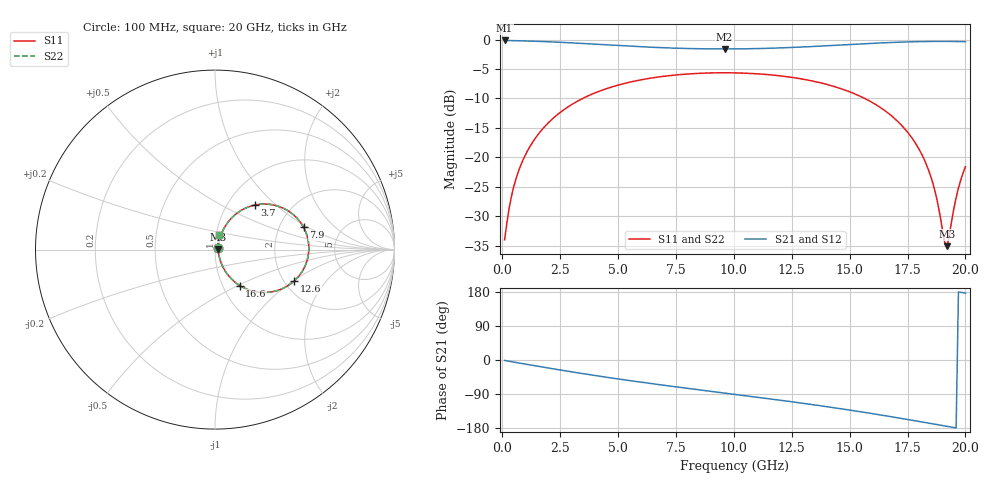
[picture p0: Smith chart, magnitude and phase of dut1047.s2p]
! Touchstone file exported from HFSS 2026.1.0
!  File:  C:/ffzhzh/LocalFiles/Ansys_Project_Files/temp_train_TSV_RDL_1047_1783296384_5512.aedt
!  Generated:  08:16:04 AM Jul  6, 2026
!  Design:  TSV_RDL
!  Project:  temp_train_TSV_RDL_1047_1783296384_5512
! Variables:
!  h_bsmrdl = 2.87um
!  h_ox = 20um
!  h_rdl = 5um
!  h_sub = 74.54um
!  h_tmrdl = 2.17um
!  h_tsv = 74.54um
!  h_via = 3um
!  l_bsmrdl = 243.09um
!  l_sub = 3023.93um
!  l_tmrdl = 438.79um
!  m_sub = 200um
!  pitch = 56.88um
!  r_tsv = 12.04um
!  s_tmrdl = 10um
!  w_bsmrdl = 19.8um
!  w_sub = 500um
!  w_tmrdl = 26.7um
!  x_tsv_center1 = 452.14um
!  x_tsv_center2 = 715.03um
!  x_tsv_center3 = 1180.52um
!  x_tsv_center4 = 1443.41um
!  x_tsv_center5 = 1908.9um
!  x_tsv_center6 = 2171.79um
# GHz S MA R 50.000000
! Terminal data exported
! Port[1] = TM_RDL1_1_T1
! Port[2] = TM_RDL5_1_T1
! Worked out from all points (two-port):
!   200 points, 100 MHz to 20 GHz, reference 50 ohm
!   highest |S21| = -0.14 dB at 100 MHz (marker M1); lowest = -1.6 dB at 9.6 GHz (marker M2)
!   |S21| within 3 dB of the highest: start of sweep to end of sweep
!   lowest |S11| = -35.1 dB at 19.2 GHz (marker M3), VSWR 1.04, Z = 51.8 + j0.358 ohm
!   |S11| at or under -10 dB: start of sweep to 3.469 GHz; 15.66 GHz to end of sweep
!   |S22| runs from -35.0 to -5.6 dB; largest |S21 - S12| = 5.1e-14
!   S11 on the Smith chart (normalised r, x): 100 MHz: 1.03, +0.02; 3.7 GHz: 1.33, +0.74; 7.9 GHz: 2.72, +0.91; 12.6 GHz: 2.26, -1.02; 16.6 GHz: 1.20, -0.51; 20 GHz: 1.04, +0.17
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0.1  0.01993 33.1  0.9835 -1.1  0.9835 -1.1  0.01993 33.1
! Gamma 0 0 0 0
! Port Impedance 50 0 50 0
0.3  0.03737 58.6  0.9819 -3.4  0.9819 -3.4  0.03737 58.6
0.5  0.05688 65.1  0.9797 -5.5  0.9797 -5.5  0.05688 65.1
1.1  0.1146 67.6  0.9726 -11.9  0.9726 -11.9  0.1146 67.6
2.1  0.2065 61.7  0.9568 -22.3  0.9568 -22.3  0.2065 61.7
3.5  0.3185 50.0  0.9263 -36.2  0.9263 -36.2  0.3185 50.0
3.7  0.3325 48.2  0.9215 -38.1  0.9215 -38.1  0.3325 48.3
6.8  0.4831 22.7  0.8553 -65.2  0.8553 -65.2  0.4831 22.7
7.9  0.5087 14.2  0.8411 -74.0  0.8411 -74.0  0.5087 14.2
9.6  0.523 1.4  0.8328 -87.2  0.8328 -87.2  0.523 1.4
10.1  0.5216 -2.4  0.8336 -91.1  0.8336 -91.1  0.5216 -2.4
12.6  0.4748 -21.6  0.8591 -111.0  0.8591 -111.0  0.4748 -21.6
13.4  0.4448 -28.0  0.8736 -117.8  0.8736 -117.8  0.4448 -28.0
16.6  0.2429 -55.4  0.9417 -147.7  0.9417 -147.7  0.2429 -55.4
16.7  0.2345 -56.3  0.9436 -148.7  0.9436 -148.7  0.2345 -56.3
17.6  0.1546 -63.2  0.9572 -158.0  0.9572 -158.0  0.1546 -63.1
18.3  0.08846 -65.5  0.9637 -165.4  0.9637 -165.4  0.08847 -65.4
18.7  0.05048 -60.8  0.9654 -169.6  0.9654 -169.6  0.05051 -60.7
19.1  0.01905 -18.8  0.9657 -173.9  0.9657 -173.9  0.01917 -18.6
19.2  0.01762 11.3  0.9655 -175.0  0.9655 -175.0  0.01776 11.3
19.6  0.04556 66.9  0.9639 -179.2  0.9639 -179.2  0.04563 66.8
20  0.08327 73.2  0.9607 176.5  0.9607 176.5  0.08332 73.1
